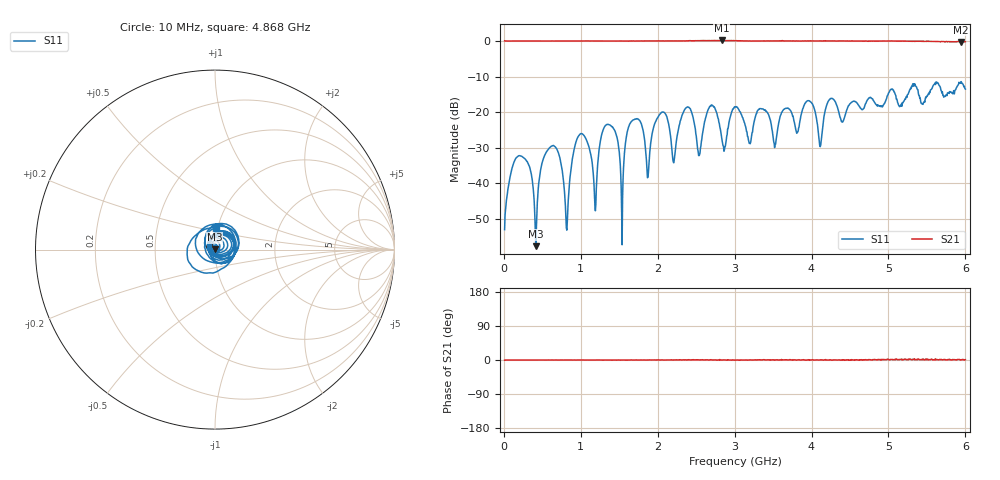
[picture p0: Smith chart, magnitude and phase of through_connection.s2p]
! NanoVNA-App
! Date: 2026-10-17 11:20:33
! Start: 10MHz Stop: 6GHz Points: 1001
! S-Parameter data: F S11 S21 S12 S22
# Hz S RI R 50
!  Frequency  S11_Real  S11_Imag  S21_Real  S21_Imag  S12_Real  S12_Imag  S22_Real  S22_Imag
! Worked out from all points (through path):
!   1001 points, 10 MHz to 6 GHz, reference 50 ohm
!   highest |S21| = 0.14 dB at 2.831 GHz (marker M1); lowest = -0.3 dB at 5.94 GHz (marker M2)
!   lowest |S11| = -57.6 dB at 417.3 MHz (marker M3), VSWR 1.00, Z = 49.9 + j0.0839 ohm
!   |S11| at or under -10 dB: start of sweep to end of sweep
!   S12 and S22 are empty: the file has one direction only
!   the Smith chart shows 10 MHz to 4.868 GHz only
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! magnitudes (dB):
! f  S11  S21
! 10 MHz  -53.0  0.0
! 201.7 MHz  -32.2  0.0
! 417.3 MHz  -57.6  0.0
! 633 MHz  -29.4  0.0
! 818.6 MHz  -53.1  0.0
! 1.01 GHz  -26.0  0.0
! 1.184 GHz  -46.3  0.0
! 1.412 GHz  -24.3  0.0
! 1.537 GHz  -57.2  0.0
! 1.645 GHz  -23.0  0.0
! 1.873 GHz  -38.3  0.0
! 2.011 GHz  -21.2  0.0
! 2.208 GHz  -34.2  0.0
! 2.382 GHz  -18.6  0.0
! 2.831 GHz  -27.2  0.1
! 3.005 GHz  -18.5  0.1
! 3.526 GHz  -28.9  0.0
! 4.005 GHz  -17.6  0.0
! 4.113 GHz  -29.7  0.0
! 5.006 GHz  -14.5  0.0
! 5.94 GHz  -11.5  -0.3
! 6 GHz  -13.5  -0.2
